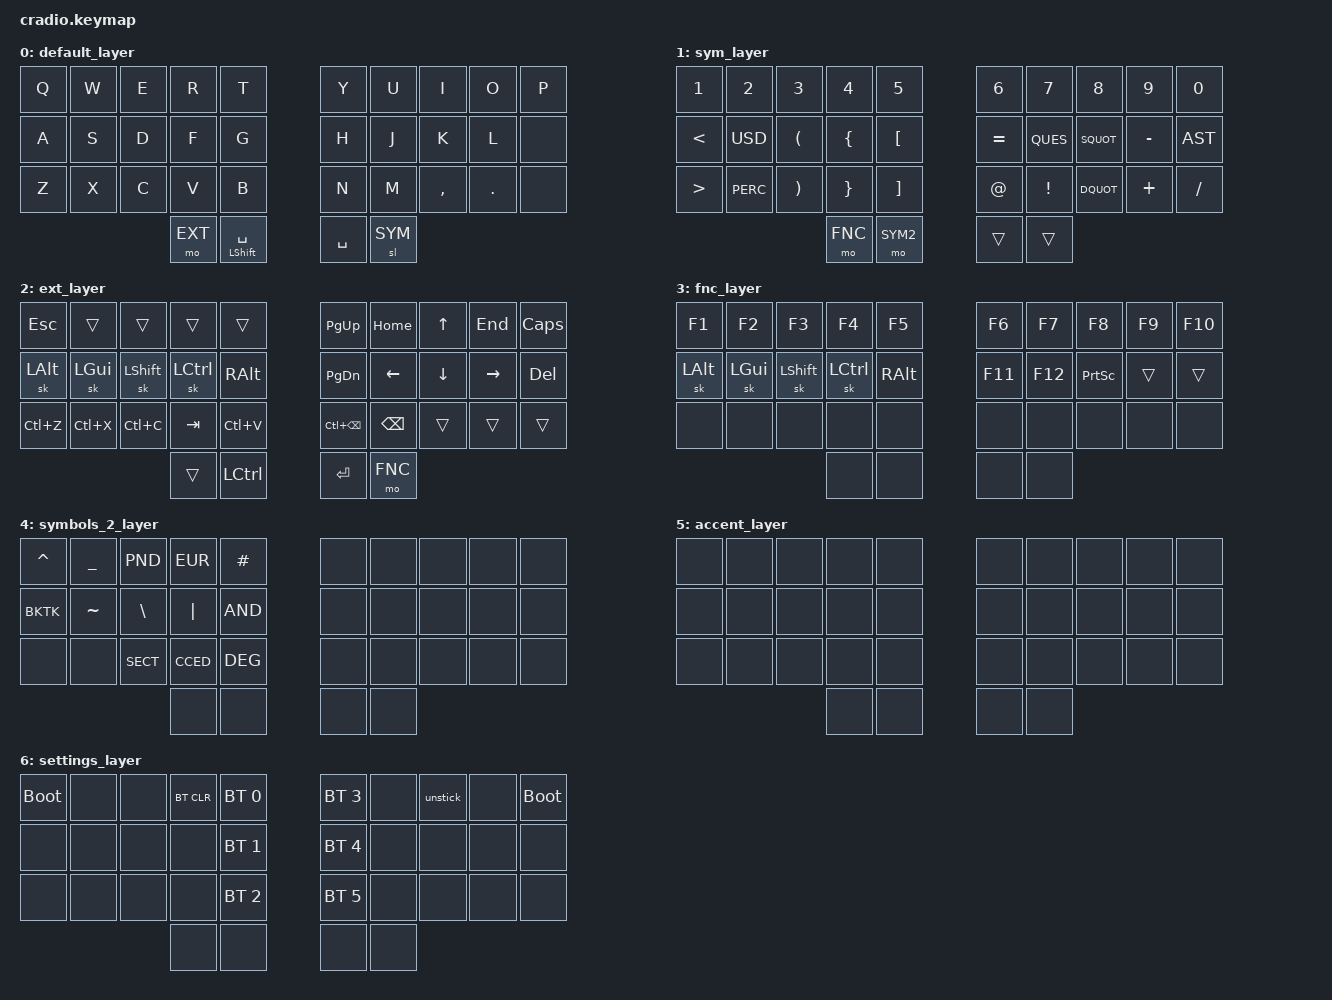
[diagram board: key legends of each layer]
/*
 * Copyright (c) 2020 The ZMK Contributors
 *
 * SPDX-License-Identifier: MIT
 */

#include <behaviors.dtsi>
#include <dt-bindings/zmk/keys.h>
#include <dt-bindings/zmk/bt.h>

// Layer definitions
    #define BASE 0
    #define SYM 1
    #define EXT 2
    #define FNC 3
    #define SYM2 4
    #define ACCENT 5
		#define SETTINGS 6
// -----------------

&mt {
   //  flavor = "tap-preferred";
   // tapping_term_ms = <200>;
};

&sk {
    ignore-modifiers;
};

/ {
		macros {
				// sometimes my device thinks a modifier is being held down
				// pressing all modifiers fixes it.
				unstick: unstick {
					label = "ZM_unstick";
					compatible = "zmk,behavior-macro";
					#binding-cells = <0>;
					bindings
						= <&kp LSHIFT &kp RSHIFT &kp LCTRL &kp RCTRL &kp LALT &kp RALT &kp LGUI &kp RGUI>;
				};
		};

    combos {
        compatible = "zmk,combos";
				// both right thumb keys
        combo_accent {
            timeout-ms = <300>;
            key-positions = <32 33>;
            bindings = <&mo ACCENT>;
        };
				// internal-left & external-right thumb keys
				combo_sym2 {
						timeout-ms = <200>;
						key-positions = <31 33>;
						bindings = <&mo SYM2>;
				};
				// both left thumb keys
				combo_settings {
						timeout-ms = <300>;
						key-positions = <30 31>;
						bindings = <&mo SETTINGS>;
				};
    };

    keymap {
            compatible = "zmk,keymap";

        // Base alpha layer
       		default_layer {
		bindings = <
		&kp Q &kp W &kp E &kp R &kp T           &kp Y &kp U  &kp I     &kp O   &kp P 
		&kp A &kp S &kp D &kp F &kp G           &kp H &kp J  &kp K     &kp L &none
		&kp Z &kp X &kp C &kp V &kp B           &kp N &kp M  &kp COMMA &kp DOT &none
             &mo EXT &mt LSHIFT SPACE           &kp SPACE &sl SYM
		>;
		};

        // Numbers and high frequency symbols
       		sym_layer {
		bindings = <
		&kp N1 &kp N2 &kp N3 &kp N4 &kp N5		                                    &kp N6 &kp N7 &kp N8 &kp N9 &kp N0
		&kp LESS_THAN &kp USD &kp LPAR &kp LBRC &kp LBKT  &kp EQL &kp QUES &kp SQUOT &kp MINUS &kp AST
		&kp GREATER_THAN &kp PERC &kp RPAR &kp RBRC &kp RBKT 	&kp AT &kp EXCL &kp DQUOT &kp PLUS &kp FSLH
					                                        &mo FNC  &mo SYM2       &trans &trans
		>;
		};

        // Main modifiers and arrow keys
		    ext_layer {
		bindings = <
		&kp ESC  &trans &trans  &trans  &trans    			        &kp PG_UP  &kp HOME &kp UP &kp END &kp CAPS
		&sk LALT &sk LGUI  &sk LSHIFT  &sk LCTRL  &kp RALT 			&kp PG_DN &kp LEFT  &kp DOWN  &kp RIGHT   &kp DEL
		&kp LC(Z)  &kp LC(X) &kp LC(C) &kp TAB   &kp LC(V)          &kp LC(BSPC) &kp BSPC &trans &trans  &trans
					                        &trans &kp LCTRL    &kp ENTER  &mo FNC 
		>;
		};

        // Function keys with modifiers
       		fnc_layer {
		bindings = <
		&kp F1 &kp F2 &kp F3 &kp F4 &kp F5                  &kp F6 &kp F7 &kp F8 &kp F9 &kp F10 
		&sk LALT &sk LGUI &sk LSHIFT &sk LCTRL &kp RALT     &kp F11 &kp F12  &kp PRINTSCREEN &trans &trans
		&none &none &none &none &none				          &none &none &none &none &none 
          				           &none &none              &none &none  
		>;
		};

        // Low frequency symbols.
       		symbols_2_layer {
		bindings = <
		&kp CARET &kp UNDER &kp PND &kp EUR &kp HASH         &none &none &none &none &none 
		&kp BKTK &kp TILDE &kp BSLH &kp PIPE &kp AND         &none &none &none &none &none
		&none 			&none 			 &kp SECT &kp CCED &kp DEG				  &none &none &none &none &none
          				           												&none &none        	&none &none 
		>;
		};

        // Used to type regional accents.
       		accent_layer {
		bindings = <
		&none &none &none &none &none                         &none &none &none &none &none 
		&none &none &none &none &none                         &none &none &none &none &none
		&none &none &none &none &none                         &none &none &none &none &none
          				     &none &none                         &none &none 
		>;
		};

        // Used to change the keyboard's settings.
       		settings_layer {
		bindings = <
		&bootloader &none &none &bt BT_CLR &bt BT_SEL 0               &bt BT_SEL 3 &none &unstick &none &bootloader 
		&none &none &none &none      &bt BT_SEL 1 						  &bt BT_SEL 4 &none &none &none &none
		&none &none &none &none      &bt BT_SEL 2               &bt BT_SEL 5 &none &none &none &none
          				     &none &none                         &none &none 
		>;
		};
        
	};
};
